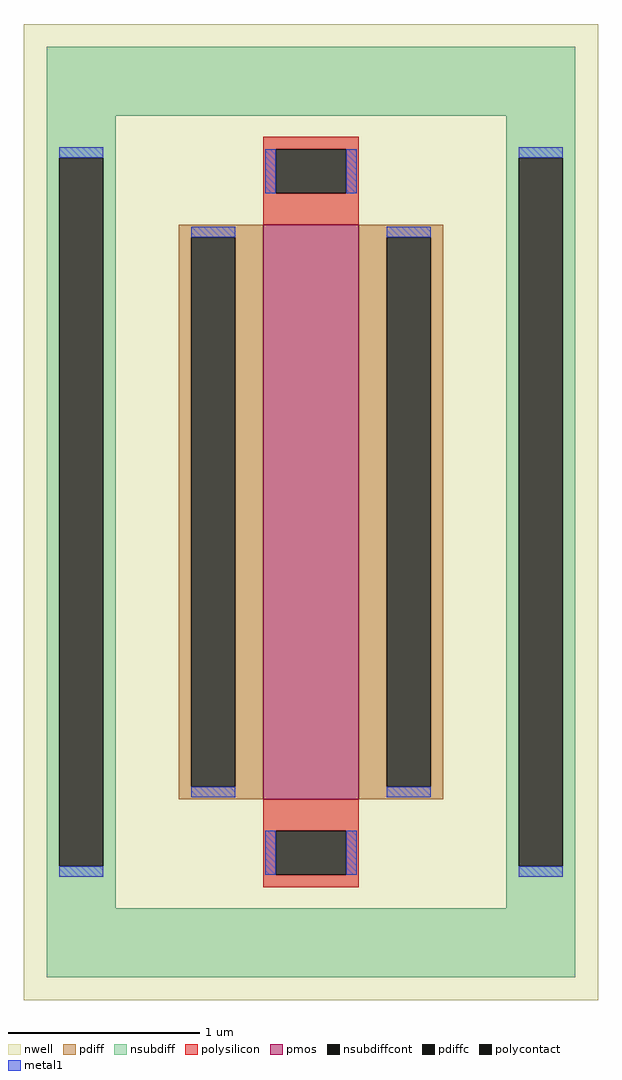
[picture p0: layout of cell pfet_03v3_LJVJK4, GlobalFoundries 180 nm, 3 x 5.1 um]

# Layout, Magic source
magic
tech gf180mcuD
magscale 1 10
<< nwell >>
rect -300 -510 300 510
<< pmos >>
rect -50 -300 50 300
<< pdiff >>
rect -138 287 -50 300
rect -138 -287 -125 287
rect -79 -287 -50 287
rect -138 -300 -50 -287
rect 50 287 138 300
rect 50 -287 79 287
rect 125 -287 138 287
rect 50 -300 138 -287
<< pdiffc >>
rect -125 -287 -79 287
rect 79 -287 125 287
<< nsubdiff >>
rect -276 414 276 486
rect -276 370 -204 414
rect -276 -370 -263 370
rect -217 -370 -204 370
rect 204 370 276 414
rect -276 -414 -204 -370
rect 204 -370 217 370
rect 263 -370 276 370
rect 204 -414 276 -370
rect -276 -486 276 -414
<< nsubdiffcont >>
rect -263 -370 -217 370
rect 217 -370 263 370
<< polysilicon >>
rect -50 379 50 392
rect -50 333 -37 379
rect 37 333 50 379
rect -50 300 50 333
rect -50 -333 50 -300
rect -50 -379 -37 -333
rect 37 -379 50 -333
rect -50 -392 50 -379
<< polycontact >>
rect -37 333 37 379
rect -37 -379 37 -333
<< metal1 >>
rect -263 370 -217 381
rect -48 333 -37 379
rect 37 333 48 379
rect 217 370 263 381
rect -125 287 -79 298
rect -125 -298 -79 -287
rect 79 287 125 298
rect 79 -298 125 -287
rect -263 -381 -217 -370
rect -48 -379 -37 -333
rect 37 -379 48 -333
rect 217 -381 263 -370
<< properties >>
string FIXED_BBOX -240 -450 240 450
string gencell pfet_03v3
string library gf180mcu
string parameters w 3.0 l 0.5 m 1 nf 1 diffcov 100 polycov 100 guard 1 glc 1 grc 1 gtc 0 gbc 0 tbcov 100 rlcov 100 topc 1 botc 1 poverlap 0 doverlap 1 lmin 0.28 wmin 0.22 class mosfet full_metal 0 compatible {pfet_03v3 pfet_06v0}
<< end >>
